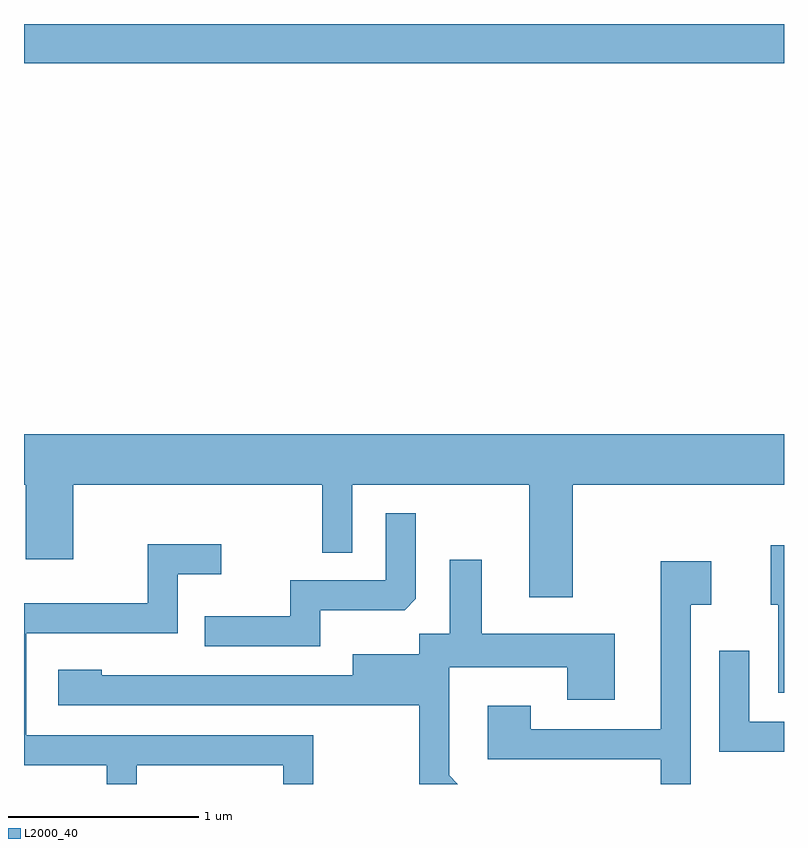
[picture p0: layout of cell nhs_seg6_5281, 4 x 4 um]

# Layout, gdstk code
import gdstk
lib = gdstk.Library(unit=1e-6, precision=1e-09)
def R(c, l, rs):  # rectangles x0, y0, x1, y1
    for r in rs: c.add(gdstk.rectangle(r[:2], r[2:], *l))
def P(c, l, *ps):  # polygons
    for p in ps: c.add(gdstk.Polygon(p, *l))
L2000_40 = (2000, 40)

nhs_seg6_5281 = lib.new_cell('nhs_seg6_5281')
R(nhs_seg6_5281, L2000_40, [(345.611,1629.956,349.611,1630.162)])
P(nhs_seg6_5281, L2000_40, [(348.499,1627.736),(349.611,1627.736),(349.611,1628.004),(345.611,1628.004),(345.611,1627.736),(345.621,1627.736),(345.621,1627.346),(345.869,1627.346),(345.869,1627.736),(347.181,1627.736),(347.181,1627.378),(347.339,1627.378),(347.339,1627.736),(348.271,1627.736),(348.271,1627.146),(348.499,1627.146)],
  [(347.169,1627.076),(347.614,1627.076),(347.674,1627.137),(347.674,1627.588),(347.516,1627.588),(347.516,1627.234),(347.011,1627.234),(347.011,1627.044),(346.563,1627.044),(346.563,1626.886),(347.169,1626.886)],
  [(346.204,1626.261),(346.976,1626.261),(346.976,1626.162),(347.134,1626.162),(347.134,1626.419),(345.624,1626.419),(345.624,1626.956),(346.419,1626.956),(346.419,1627.266),(346.648,1627.266),(346.648,1627.424),(346.261,1627.424),(346.261,1627.114),(345.611,1627.114),(345.611,1626.261),(346.046,1626.261),(346.046,1626.162),(346.204,1626.162)],
  [(349.611,1627.419),(349.541,1627.419),(349.541,1627.106),(349.581,1627.106),(349.581,1626.641),(349.611,1626.641)],
  [(347.849,1626.207),(347.849,1626.776),(348.471,1626.776),(348.471,1626.606),(348.719,1626.606),(348.719,1626.954),(348.019,1626.954),(348.019,1627.343),(347.851,1627.343),(347.851,1626.954),(347.691,1626.954),(347.691,1626.844),(347.341,1626.844),(347.341,1626.734),(346.019,1626.734),(346.019,1626.764),(345.791,1626.764),(345.791,1626.576),(347.691,1626.576),(347.691,1626.162),(347.894,1626.162)],
  [(349.119,1627.106),(349.229,1627.106),(349.229,1627.334),(348.961,1627.334),(348.961,1626.449),(348.279,1626.449),(348.279,1626.574),(348.051,1626.574),(348.051,1626.291),(348.961,1626.291),(348.961,1626.162),(349.119,1626.162)],
  [(349.611,1626.489),(349.429,1626.489),(349.429,1626.863),(349.271,1626.863),(349.271,1626.331),(349.611,1626.331)])

lib.write_gds('nhs_seg6_5281.gds')
